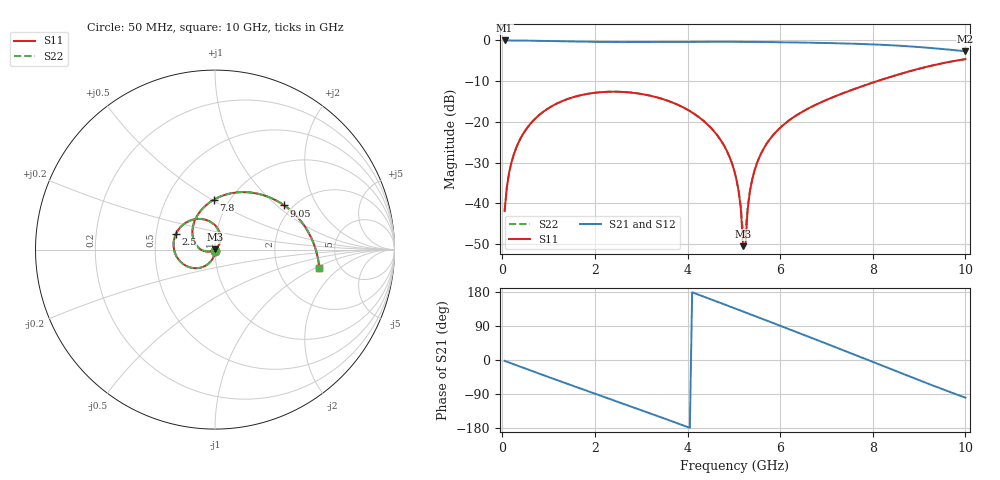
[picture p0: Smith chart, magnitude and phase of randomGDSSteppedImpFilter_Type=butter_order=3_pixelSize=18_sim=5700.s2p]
! freq	dB(S11)	phase(S11)	dB(S12)	phase(S12)
!  dB(S21)	phase(S21)	dB(S22)	phase(S22)
!S-par simulation data
#  GHz  S  DB  R 50
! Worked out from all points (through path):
!   200 points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, 50 MHz to 10 GHz, reference 50 ohm
!   highest |S21| = 0.00 dB at 50 MHz (marker M1); lowest = -2.6 dB at 10 GHz (marker M2)
!   group delay of S21, straight-line fit = 128 ps
!   lowest |S11| = -50.5 dB at 5.2 GHz (marker M3), VSWR 1.01, Z = 50.2 + j0.24 ohm
!   |S11| at or under -10 dB: start of sweep to 8.092 GHz
!   |S22| runs from -47.2 to -4.6 dB; largest |S21 - S12| = 0
!   S11 on the Smith chart (normalised r, x): 50 MHz: 1.00, -0.02; 2.5 GHz: 0.63, +0.12; 7.8 GHz: 0.85, +0.51; 9.05 GHz: 1.81, +1.12; 10 GHz: 3.50, -1.10
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0.05  -41.86 -91.9  -0.00 -2.3  -0.00 -2.3  -41.86 -91.9
0.1  -35.84 -94.4  -0.00 -4.5  -0.00 -4.5  -35.84 -94.4
0.2  -29.85 -99.1  -0.01 -9.1  -0.01 -9.1  -29.85 -99.0
0.5  -22.05 -112.8  -0.04 -22.6  -0.04 -22.6  -22.05 -112.8
1  -16.61 -135.5  -0.14 -45.0  -0.14 -45.0  -16.61 -135.4
1.75  -13.30 -168.8  -0.30 -77.9  -0.30 -77.9  -13.30 -168.6
2.5  -12.59 158.5  -0.38 -110.4  -0.38 -110.4  -12.59 158.9
3.4  -14.16 119.0  -0.36 -149.9  -0.36 -149.9  -14.16 119.7
4.5  -21.39 69.2  -0.31 160.3  -0.31 160.3  -21.38 70.9
4.85  -27.15 53.4  -0.32 144.2  -0.32 144.2  -27.13 56.7
5.05  -33.83 45.1  -0.33 134.9  -0.33 134.9  -33.75 52.1
5.15  -41.21 43.3  -0.33 130.3  -0.33 130.3  -40.74 59.0
5.2  -50.50 53.3  -0.34 127.9  -0.34 127.9  -47.24 87.2
5.25  -50.39 -166.4  -0.34 125.6  -0.34 125.6  -46.99 163.5
5.3  -41.26 -153.9  -0.35 123.3  -0.35 123.3  -40.68 -169.0
5.4  -33.99 -155.7  -0.36 118.6  -0.36 118.6  -33.86 -162.2
5.6  -27.50 -164.0  -0.38 109.2  -0.38 109.2  -27.46 -166.9
6.7  -16.17 144.1  -0.56 57.4  -0.56 57.4  -16.16 143.7
7.8  -11.12 91.4  -0.88 4.6  -0.88 4.6  -11.12 91.5
8.35  -9.06 65.3  -1.15 -22.0  -1.15 -22.0  -9.06 65.4
9.05  -6.79 32.5  -1.66 -55.6  -1.66 -55.6  -6.79 32.7
10  -4.58 -10.0  -2.65 -99.4  -2.65 -99.4  -4.59 -9.8
